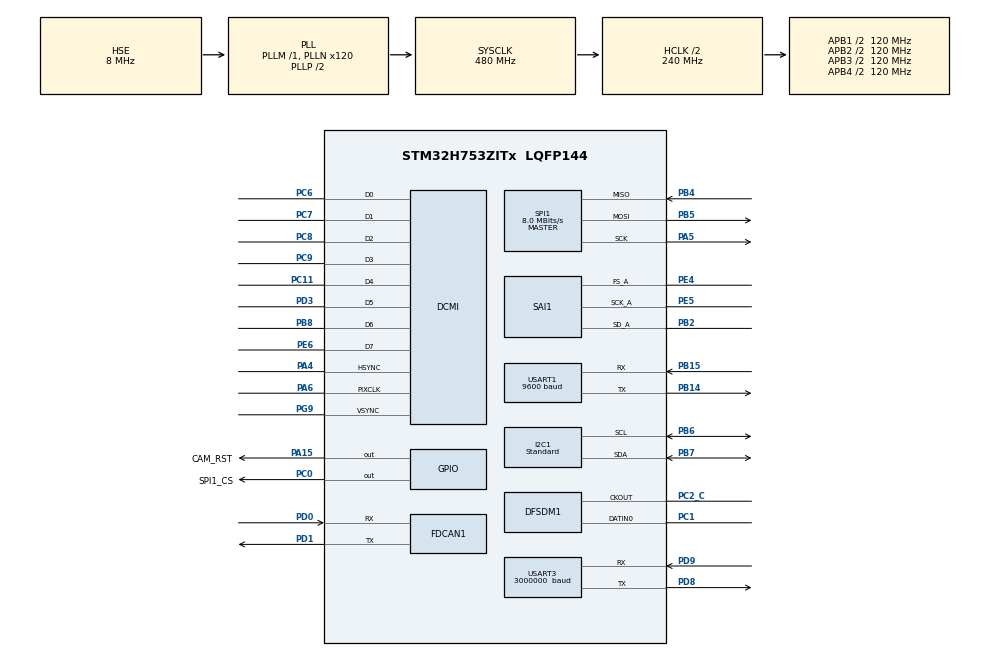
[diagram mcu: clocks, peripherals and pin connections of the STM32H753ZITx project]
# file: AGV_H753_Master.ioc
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CORTEX_M7.CPU_DCache=Enabled
CORTEX_M7.CPU_ICache=Enabled
CORTEX_M7.default_mode_Activation=1
DCMI.HSPolarity=DCMI_HSPOLARITY_HIGH
DCMI.VSPolarity=DCMI_VSPOLARITY_HIGH
DFSDM1.Divider=35
DFSDM1.DmaMode_reg_FIL0=ENABLE
DFSDM1.FastMode_reg_FIL0=ENABLE
DFSDM1.Filter_injChannel0_FIL0=__NULL
DFSDM1.Filter_regChannel_FIL0=DFSDM_CHANNEL_0
DFSDM1.Fosr_FIL0=64
DFSDM1.RightBitShift_CH0=0x8
DFSDM1.Selection=DFSDM_CHANNEL_OUTPUT_CLOCK_AUDIO
DFSDM1.SincOrder_FIL0=DFSDM_FILTER_SINC3_ORDER
Dma.DCMI.0.Direction=DMA_PERIPH_TO_MEMORY
Dma.DCMI.0.EventEnable=DISABLE
Dma.DCMI.0.FIFOMode=DMA_FIFOMODE_DISABLE
Dma.DCMI.0.Instance=DMA1_Stream1
Dma.DCMI.0.MemDataAlignment=DMA_MDATAALIGN_WORD
Dma.DCMI.0.MemInc=DMA_MINC_ENABLE
Dma.DCMI.0.Mode=DMA_CIRCULAR
Dma.DCMI.0.PeriphDataAlignment=DMA_PDATAALIGN_WORD
Dma.DCMI.0.PeriphInc=DMA_PINC_DISABLE
Dma.DCMI.0.Polarity=HAL_DMAMUX_REQ_GEN_RISING
Dma.DCMI.0.Priority=DMA_PRIORITY_LOW
Dma.DCMI.0.RequestNumber=1
Dma.DCMI.0.SignalID=NONE
Dma.DCMI.0.SyncEnable=DISABLE
Dma.DCMI.0.SyncPolarity=HAL_DMAMUX_SYNC_NO_EVENT
Dma.DCMI.0.SyncRequestNumber=1
Dma.DCMI.0.SyncSignalID=NONE
Dma.DFSDM1_FLT0.1.Direction=DMA_PERIPH_TO_MEMORY
Dma.DFSDM1_FLT0.1.EventEnable=DISABLE
Dma.DFSDM1_FLT0.1.FIFOMode=DMA_FIFOMODE_DISABLE
Dma.DFSDM1_FLT0.1.Instance=DMA1_Stream2
Dma.DFSDM1_FLT0.1.MemDataAlignment=DMA_MDATAALIGN_WORD
Dma.DFSDM1_FLT0.1.MemInc=DMA_MINC_ENABLE
Dma.DFSDM1_FLT0.1.Mode=DMA_CIRCULAR
Dma.DFSDM1_FLT0.1.PeriphDataAlignment=DMA_PDATAALIGN_WORD
Dma.DFSDM1_FLT0.1.PeriphInc=DMA_PINC_DISABLE
Dma.DFSDM1_FLT0.1.Polarity=HAL_DMAMUX_REQ_GEN_RISING
Dma.DFSDM1_FLT0.1.Priority=DMA_PRIORITY_LOW
Dma.DFSDM1_FLT0.1.RequestNumber=1
Dma.DFSDM1_FLT0.1.SignalID=NONE
Dma.DFSDM1_FLT0.1.SyncEnable=DISABLE
Dma.DFSDM1_FLT0.1.SyncPolarity=HAL_DMAMUX_SYNC_NO_EVENT
Dma.DFSDM1_FLT0.1.SyncRequestNumber=1
Dma.DFSDM1_FLT0.1.SyncSignalID=NONE
Dma.Request0=DCMI
Dma.Request1=DFSDM1_FLT0
Dma.Request2=SAI1_A
Dma.SAI1_A.2.Direction=DMA_MEMORY_TO_PERIPH
Dma.SAI1_A.2.EventEnable=DISABLE
Dma.SAI1_A.2.FIFOMode=DMA_FIFOMODE_DISABLE
Dma.SAI1_A.2.Instance=DMA1_Stream0
Dma.SAI1_A.2.MemDataAlignment=DMA_MDATAALIGN_HALFWORD
Dma.SAI1_A.2.MemInc=DMA_MINC_ENABLE
Dma.SAI1_A.2.Mode=DMA_CIRCULAR
Dma.SAI1_A.2.PeriphDataAlignment=DMA_PDATAALIGN_HALFWORD
Dma.SAI1_A.2.PeriphInc=DMA_PINC_DISABLE
Dma.SAI1_A.2.Polarity=HAL_DMAMUX_REQ_GEN_RISING
Dma.SAI1_A.2.Priority=DMA_PRIORITY_LOW
Dma.SAI1_A.2.RequestNumber=1
Dma.SAI1_A.2.SignalID=NONE
Dma.SAI1_A.2.SyncEnable=DISABLE
Dma.SAI1_A.2.SyncPolarity=HAL_DMAMUX_SYNC_NO_EVENT
Dma.SAI1_A.2.SyncRequestNumber=1
Dma.SAI1_A.2.SyncSignalID=NONE
FDCAN1.AutoRetransmission=ENABLE
FDCAN1.CalculateBaudRateNominal=1000000
FDCAN1.CalculateTimeBitNominal=1000
FDCAN1.CalculateTimeQuantumNominal=100.0
FDCAN1.Mode=FDCAN_MODE_NORMAL
FDCAN1.NominalPrescaler=12
FDCAN1.NominalSyncJumpWidth=1
FDCAN1.NominalTimeSeg1=7
FDCAN1.NominalTimeSeg2=2
FDCAN1.RxFifo0ElmtsNbr=8
FDCAN1.RxFifo1ElmtsNbr=0
FDCAN1.StdFiltersNbr=1
FDCAN1.TxFifoQueueElmtsNbr=8
I2C1.I2C_Speed_Mode=I2C_Standard
I2C1.Timing=0x307075B1
Mcu.Family=STM32H7
Mcu.Name=STM32H753ZITx
Mcu.Package=LQFP144
NVIC.DCMI_IRQn=true\:2\:0\:true\:false\:true\:true\:true\:true
NVIC.DFSDM1_FLT0_IRQn=true\:4\:0\:true\:false\:true\:true\:true\:true
NVIC.DMA1_Stream0_IRQn=true\:5\:0\:true\:false\:true\:false\:true\:true
NVIC.DMA1_Stream1_IRQn=true\:6\:0\:true\:false\:true\:false\:true\:true
NVIC.DMA1_Stream2_IRQn=true\:6\:0\:true\:false\:true\:false\:true\:true
NVIC.FDCAN1_IT0_IRQn=true\:3\:0\:true\:false\:true\:true\:true\:true
NVIC.FDCAN1_IT1_IRQn=true\:3\:0\:true\:false\:true\:true\:true\:true
NVIC.PriorityGroup=NVIC_PRIORITYGROUP_4
NVIC.SAI1_IRQn=true\:4\:0\:true\:false\:true\:true\:true\:true
NVIC.USART1_IRQn=true\:8\:0\:true\:false\:true\:true\:true\:true
NVIC.USART3_IRQn=true\:5\:0\:true\:false\:true\:true\:true\:true
PA13\ (JTMS/SWDIO).Mode=Serial_Wire
PA13\ (JTMS/SWDIO).Signal=DEBUG_JTMS-SWDIO
PA14\ (JTCK/SWCLK).Mode=Serial_Wire
PA14\ (JTCK/SWCLK).Signal=DEBUG_JTCK-SWCLK
PA15\ (JTDI).GPIO_Label=CAM_RST
PA15\ (JTDI).Signal=GPIO_Output
PA4.Mode=Slave_8_bits_External_Synchro
PA4.Signal=DCMI_HSYNC
PA5.Mode=Full_Duplex_Master
PA5.Signal=SPI1_SCK
PA6.Mode=Slave_8_bits_External_Synchro
PA6.Signal=DCMI_PIXCLK
PB14.Mode=Asynchronous
PB14.Signal=USART1_TX
PB15.Mode=Asynchronous
PB15.Signal=USART1_RX
PB2.GPIO_Speed=GPIO_SPEED_FREQ_VERY_HIGH
PB2.Mode=SAI_A_Master
PB2.Signal=SAI1_SD_A
PB4\ (NJTRST).Mode=Full_Duplex_Master
PB4\ (NJTRST).Signal=SPI1_MISO
PB5.Mode=Full_Duplex_Master
PB5.Signal=SPI1_MOSI
PB6.GPIO_Pu=GPIO_PULLUP
PB6.Mode=I2C
PB6.Signal=I2C1_SCL
PB7.GPIO_Pu=GPIO_PULLUP
PB7.Mode=I2C
PB7.Signal=I2C1_SDA
PB8.Mode=Slave_8_bits_External_Synchro
PB8.Signal=DCMI_D6
PC0.GPIO_Label=SPI1_CS
PC0.Signal=GPIO_Output
PC1.Signal=S_DATAIN0DFSDM1
PC11.Mode=Slave_8_bits_External_Synchro
PC11.Signal=DCMI_D4
PC14-OSC32_IN\ (OSC32_IN).Mode=LSE-External-Clock-Source
PC14-OSC32_IN\ (OSC32_IN).Signal=RCC_OSC32_IN
PC2_C.Signal=S_CKOUTDFSDM1
PC6.Mode=Slave_8_bits_External_Synchro
PC6.Signal=DCMI_D0
PC7.Mode=Slave_8_bits_External_Synchro
PC7.Signal=DCMI_D1
PC8.Mode=Slave_8_bits_External_Synchro
PC8.Signal=DCMI_D2
PC9.Mode=Slave_8_bits_External_Synchro
PC9.Signal=DCMI_D3
PD0.Mode=FDCAN_Activate
PD0.Signal=FDCAN1_RX
PD1.Mode=FDCAN_Activate
PD1.Signal=FDCAN1_TX
PD3.Mode=Slave_8_bits_External_Synchro
PD3.Signal=DCMI_D5
PD8.Mode=Asynchronous
PD8.Signal=USART3_TX
PD9.Mode=Asynchronous
PD9.Signal=USART3_RX
PE4.GPIO_Speed=GPIO_SPEED_FREQ_VERY_HIGH
PE4.Mode=SAI_A_Master
PE4.Signal=SAI1_FS_A
PE5.GPIO_Speed=GPIO_SPEED_FREQ_VERY_HIGH
PE5.Mode=SAI_A_Master
PE5.Signal=SAI1_SCK_A
PE6.Mode=Slave_8_bits_External_Synchro
PE6.Signal=DCMI_D7
PG9.Mode=Slave_8_bits_External_Synchro
PG9.Signal=DCMI_VSYNC
PH0-OSC_IN\ (PH0).Mode=HSE-External-Oscillator
PH0-OSC_IN\ (PH0).Signal=RCC_OSC_IN
PH1-OSC_OUT\ (PH1).Mode=HSE-External-Oscillator
PH1-OSC_OUT\ (PH1).Signal=RCC_OSC_OUT
ProjectManager.HeapSize=0x2000
ProjectManager.StackSize=0x800
ProjectManager.TargetToolchain=STM32CubeIDE
RCC.ADCFreq_Value=86000000
RCC.APB1Freq_Value=120000000
RCC.APB2Freq_Value=120000000
RCC.APB3Freq_Value=120000000
RCC.APB4Freq_Value=120000000
RCC.CodegenConfigPeriph=true
RCC.CortexFreq_Value=480000000
RCC.D1PPRE=RCC_APB3_DIV2
RCC.D2PPRE1=RCC_APB1_DIV2
RCC.D2PPRE2=RCC_APB2_DIV2
RCC.D3PPRE=RCC_APB4_DIV2
RCC.DATA_CACHE_ENABLE=1
RCC.DIVM1=1
RCC.DIVM2=8
RCC.DIVN1=120
RCC.DIVN2=172
RCC.DIVQ1=8
RCC.DIVQ2=4
RCC.HCLKFreq_Value=240000000
RCC.HPRE=RCC_HCLK_DIV2
RCC.HSE_VALUE=8000000
RCC.INSTRUCTION_CACHE_ENABLE=1
RCC.LSE_Drive_CapabilityArg=+LSE_Drive_Capability
RCC.PLL1_VCI_Range=RCC_PLL1VCIRANGE_3
RCC.PLL2FRACN=0
RCC.PLL3FRACN=0
RCC.PLLFRACN=0
RCC.PLLSourceVirtual=RCC_PLLSOURCE_HSE
RCC.PREFETCH_ENABLE=0
RCC.SAI1CLockSelection=RCC_SAI1CLKSOURCE_PLL2
RCC.SPI123CLockSelection=RCC_SPI123CLKSOURCE_CLKP
RCC.SYSCLKFreq_VALUE=480000000
RCC.SYSCLKSource=RCC_SYSCLKSOURCE_PLLCLK
RCC.USBFreq_Value=120000000
SAI1.AudioFrequency-SAI_A_Master=SAI_AUDIO_FREQUENCY_48K
SAI1.ErrorAudioFreq-SAI_A_Master=599.86 %
SAI1.FIFOThreshold-SAI_A_Master=SAI_FIFOTHRESHOLD_FULL
SAI1.InitProtocol-SAI_A_Master=Enable
SAI1.Instance-SAI_A_Master=SAI$Index_Block_A
SAI1.MClockEnable-SAI_A_Master=SAI_MASTERCLOCK_DISABLE
SAI1.NoDivider-SAI_A_Master=SAI_MCK_OVERSAMPLING_ENABLE
SAI1.OutputDrive-SAI_A_Master=SAI_OUTPUTDRIVE_ENABLE
SAI1.RealAudioFreq-SAI_A_Master=335.937 KHz
SAI1.VirtualMode-SAI_A_Master=VM_MASTER
SAI1.VirtualProtocol-SAI_A_BASIC=VM_BASIC_PROTOCOL
SH.S_CKOUTDFSDM1.0=DFSDM1_CKOUT,CKOUT
SH.S_CKOUTDFSDM1.1=DFSDM1_CKOUT,PDM_SPI_input_from_ch0_and_internal_clock
SH.S_DATAIN0DFSDM1.0=DFSDM1_DATIN0,PDM_SPI_input_from_ch0_and_internal_clock
SPI1.BaudRatePrescaler=SPI_BAUDRATEPRESCALER_8
SPI1.CalculateBaudRate=8.0 MBits/s
SPI1.DataSize=SPI_DATASIZE_8BIT
SPI1.Direction=SPI_DIRECTION_2LINES
SPI1.Mode=SPI_MODE_MASTER
SPI1.VirtualType=VM_MASTER
STMicroelectronics.X-CUBE-AI.10.2.0.ActivationBufferSizeList=19532
STMicroelectronics.X-CUBE-AI.10.2.0.ActivationBuffers=pool0
STMicroelectronics.X-CUBE-AI.10.2.0.ActivationNames=pool0
STMicroelectronics.X-CUBE-AI.10.2.0.ActivationSizes=AI_KWS_DATA_ACTIVATION_1_SIZE
STMicroelectronics.X-CUBE-AI.10.2.0.ApplicationCcDeviceJjApplication=ApplicationTemplate
STMicroelectronics.X-CUBE-AI.10.2.0.HeapSize=0x2000
STMicroelectronics.X-CUBE-AI.10.2.0.InternalRamActivationBufferMaxSize=AI_KWS_DATA_ACTIVATIONS_SIZE
STMicroelectronics.X-CUBE-AI.10.2.0.LatestDirectoryUsed-21a3f97fbf82e8b1127e67b79ba0f9c5c1374c2d9a2c23968b299df149952bf8=D\:\\STM32CubeIDE_2.1.1\\workplace\\training
STMicroelectronics.X-CUBE-AI.10.2.0.MaximumNumberOfInputLayer=1
STMicroelectronics.X-CUBE-AI.10.2.0.MaximumNumberOfOutputLayer=1
STMicroelectronics.X-CUBE-AI.10.2.0.MaximumSizeOfInputLayer=1
STMicroelectronics.X-CUBE-AI.10.2.0.MaximumSizeOfOutputLayer=1
STMicroelectronics.X-CUBE-AI.10.2.0.ModelActualCompression-21a3f97fbf82e8b1127e67b79ba0f9c5c1374c2d9a2c23968b299df149952bf8=0.0
STMicroelectronics.X-CUBE-AI.10.2.0.ModelCompression-21a3f97fbf82e8b1127e67b79ba0f9c5c1374c2d9a2c23968b299df149952bf8=None
STMicroelectronics.X-CUBE-AI.10.2.0.ModelFlashOccupation-21a3f97fbf82e8b1127e67b79ba0f9c5c1374c2d9a2c23968b299df149952bf8=138516
STMicroelectronics.X-CUBE-AI.10.2.0.ModelHashList=21a3f97fbf82e8b1127e67b79ba0f9c5c1374c2d9a2c23968b299df149952bf8
STMicroelectronics.X-CUBE-AI.10.2.0.ModelKind-21a3f97fbf82e8b1127e67b79ba0f9c5c1374c2d9a2c23968b299df149952bf8=ONNX
STMicroelectronics.X-CUBE-AI.10.2.0.ModelMacc-21a3f97fbf82e8b1127e67b79ba0f9c5c1374c2d9a2c23968b299df149952bf8=673850
STMicroelectronics.X-CUBE-AI.10.2.0.ModelName-21a3f97fbf82e8b1127e67b79ba0f9c5c1374c2d9a2c23968b299df149952bf8=kws
STMicroelectronics.X-CUBE-AI.10.2.0.ModelNameList=kws
STMicroelectronics.X-CUBE-AI.10.2.0.ModelRamOccupation-21a3f97fbf82e8b1127e67b79ba0f9c5c1374c2d9a2c23968b299df149952bf8=19532
STMicroelectronics.X-CUBE-AI.10.2.0.ModelStructureFile-21a3f97fbf82e8b1127e67b79ba0f9c5c1374c2d9a2c23968b299df149952bf8=D\:\\STM32CubeIDE_2.1.1\\workplace\\training\\kws_model_tc_resnet8.onnx
STMicroelectronics.X-CUBE-AI.10.2.0.ModelType-21a3f97fbf82e8b1127e67b79ba0f9c5c1374c2d9a2c23968b299df149952bf8=STM32Cube.AI MCU runtime
STMicroelectronics.X-CUBE-AI.10.2.0.ReadyForCodeGeneration=true
STMicroelectronics.X-CUBE-AI.10.2.0.StackSize=0x800
STMicroelectronics.X-CUBE-AI.10.2.0.WorkingBufferStartAddrList=0xFFFFFFFF
STMicroelectronics.X-CUBE-AI.10.2.0.XAaCUBEAaAICcArtificialOoIntelligenceJjCore=true
STMicroelectronics.X-CUBE-AI.10.2.0.copyWeightToRam=false
STMicroelectronics.X-CUBE-AI.10.2.0.copyWeightToRam-21a3f97fbf82e8b1127e67b79ba0f9c5c1374c2d9a2c23968b299df149952bf8=false
STMicroelectronics.X-CUBE-AI.10.2.0.customLayerConfigEnabled=false
STMicroelectronics.X-CUBE-AI.10.2.0.customLayerConfigEnabled-21a3f97fbf82e8b1127e67b79ba0f9c5c1374c2d9a2c23968b299df149952bf8=false
STMicroelectronics.X-CUBE-AI.10.2.0.noOnnxIoTranspose=false
STMicroelectronics.X-CUBE-AI.10.2.0.noOnnxIoTranspose-21a3f97fbf82e8b1127e67b79ba0f9c5c1374c2d9a2c23968b299df149952bf8=false
STMicroelectronics.X-CUBE-AI.10.2.0.useInputAllocation=true
STMicroelectronics.X-CUBE-AI.10.2.0.useInputAllocation-21a3f97fbf82e8b1127e67b79ba0f9c5c1374c2d9a2c23968b299df149952bf8=true
STMicroelectronics.X-CUBE-AI.10.2.0.useOutputAllocation=true
STMicroelectronics.X-CUBE-AI.10.2.0.useOutputAllocation-21a3f97fbf82e8b1127e67b79ba0f9c5c1374c2d9a2c23968b299df149952bf8=true
USART1.BaudRate=9600
USART1.VirtualMode-Asynchronous=VM_ASYNC
USART3.BaudRate=3000000 
USART3.VirtualMode-Asynchronous=VM_ASYNC
VP_CRC_VS_CRC.Mode=CRC_Activate
VP_MEMORYMAP_VS_MEMORYMAP.Mode=CurAppReg
VP_SAI1_VP_$IpInstance_SAIA_SAI_BASIC.Mode=SAI_A_BASIC
VP_STMicroelectronics.X-CUBE-AI_VS_ArtificialOoIntelligenceJjXAaCUBEAaAI_10.2.0.Mode=ArtificialOoIntelligenceJjXAaCUBEAaAI
VP_STMicroelectronics.X-CUBE-AI_VS_DeviceJjApplication_10.2.0.Mode=DeviceJjApplication
board=custom

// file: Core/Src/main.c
/* USER CODE BEGIN Header */
/**
  ******************************************************************************
  * @file           : main.c
  * @brief          : Main program body
  ******************************************************************************
  * @attention
  *
  * Copyright (c) 2026 STMicroelectronics.
  * All rights reserved.
  *
  * This software is licensed under terms that can be found in the LICENSE file
  * in the root directory of this software component.
  * If no LICENSE file comes with this software, it is provided AS-IS.
  *
  ******************************************************************************
  */
/* USER CODE END Header */
#include "main.h"
#include "crc.h"
#include "dcmi.h"
#include "dfsdm.h"
#include "dma.h"
#include "fdcan.h"
#include "i2c.h"
#include "sai.h"
#include "spi.h"
#include "usart.h"
#include "gpio.h"
#include "app_x-cube-ai.h"

/* USER CODE BEGIN Includes */
#include "app_h753.h"
#include <stdio.h>
/* USER CODE END Includes */

void SystemClock_Config(void);
void PeriphCommonClock_Config(void);
static void MPU_Config(void);

int main(void)
{

  /* MPU Configuration--------------------------------------------------------*/
  MPU_Config();

  /* Enable the CPU Cache */

  /* Enable I-Cache---------------------------------------------------------*/
  SCB_EnableICache();

  /* Enable D-Cache---------------------------------------------------------*/
  SCB_EnableDCache();

  /* MCU Configuration--------------------------------------------------------*/

  /* Reset of all peripherals, Initializes the Flash interface and the Systick. */
  HAL_Init();

  /* Configure the system clock */
  SystemClock_Config();

  /* Configure the peripherals common clocks */
  PeriphCommonClock_Config();

  /* USER CODE BEGIN SysInit */
  /* PLL2 must be enabled BEFORE DFSDM init (which needs audio clock).
     SAI1 MspInit also configures PLL2 but runs later; the static guard
     prevents double-config, making the MspInit call a safe no-op. */
  {
    static uint8_t _pll2_done = 0;
    if (!_pll2_done) {
      RCC_PeriphCLKInitTypeDef p = {0};
      p.PeriphClockSelection = RCC_PERIPHCLK_SAI1;
      p.PLL2.PLL2M = 8;
      p.PLL2.PLL2N = 172;
      p.PLL2.PLL2P = 2;
      p.PLL2.PLL2Q = 4;
      p.PLL2.PLL2R = 2;
      p.PLL2.PLL2RGE = RCC_PLL2VCIRANGE_0;
      p.PLL2.PLL2VCOSEL = RCC_PLL2VCOMEDIUM;
      p.PLL2.PLL2FRACN = 0;
      p.Sai1ClockSelection = RCC_SAI1CLKSOURCE_PLL2;
      HAL_RCCEx_PeriphCLKConfig(&p);
      _pll2_done = 1;
    }
  }
  /* USER CODE END SysInit */

  /* Initialize all configured peripherals */
  MX_GPIO_Init();
  MX_DMA_Init();
  MX_FDCAN1_Init();
  MX_I2C1_Init();
  MX_SPI1_Init();
  MX_USART3_UART_Init();
  MX_DCMI_Init();
  MX_DFSDM1_Init();
  MX_USART1_UART_Init();
  MX_SAI1_Init();
  MX_CRC_Init();
  MX_X_CUBE_AI_Init();
  /* USER CODE BEGIN 2 */
  App_Init();
  /* USER CODE END 2 */

  /* Infinite loop */
  /* USER CODE BEGIN WHILE */
  while (1)
  {
      App_Run();
    /* USER CODE END WHILE */

  MX_X_CUBE_AI_Process();
  }
}

void SystemClock_Config(void)
{
  RCC_OscInitTypeDef RCC_OscInitStruct = {0};
  RCC_ClkInitTypeDef RCC_ClkInitStruct = {0};

  /** Supply configuration update enable
  */
  HAL_PWREx_ConfigSupply(PWR_LDO_SUPPLY);

  /** Configure the main internal regulator output voltage
  */
  __HAL_PWR_VOLTAGESCALING_CONFIG(PWR_REGULATOR_VOLTAGE_SCALE0);

  while(!__HAL_PWR_GET_FLAG(PWR_FLAG_VOSRDY)) {}

  /** Initializes the RCC Oscillators according to the specified parameters
  * in the RCC_OscInitTypeDef structure.
  */
  RCC_OscInitStruct.OscillatorType = RCC_OSCILLATORTYPE_HSI|RCC_OSCILLATORTYPE_HSE;
  RCC_OscInitStruct.HSEState = RCC_HSE_ON;
  RCC_OscInitStruct.HSIState = RCC_HSI_DIV1;
  RCC_OscInitStruct.HSICalibrationValue = RCC_HSICALIBRATION_DEFAULT;
  RCC_OscInitStruct.PLL.PLLState = RCC_PLL_ON;
  RCC_OscInitStruct.PLL.PLLSource = RCC_PLLSOURCE_HSE;
  RCC_OscInitStruct.PLL.PLLM = 1;
  RCC_OscInitStruct.PLL.PLLN = 120;
  RCC_OscInitStruct.PLL.PLLP = 2;
  RCC_OscInitStruct.PLL.PLLQ = 8;
  RCC_OscInitStruct.PLL.PLLR = 2;
  RCC_OscInitStruct.PLL.PLLRGE = RCC_PLL1VCIRANGE_3;
  RCC_OscInitStruct.PLL.PLLVCOSEL = RCC_PLL1VCOWIDE;
  RCC_OscInitStruct.PLL.PLLFRACN = 0;
  if (HAL_RCC_OscConfig(&RCC_OscInitStruct) != HAL_OK)
  {
    Error_Handler();
  }

  /** Initializes the CPU, AHB and APB buses clocks
  */
  RCC_ClkInitStruct.ClockType = RCC_CLOCKTYPE_HCLK|RCC_CLOCKTYPE_SYSCLK
                              |RCC_CLOCKTYPE_PCLK1|RCC_CLOCKTYPE_PCLK2
                              |RCC_CLOCKTYPE_D3PCLK1|RCC_CLOCKTYPE_D1PCLK1;
  RCC_ClkInitStruct.SYSCLKSource = RCC_SYSCLKSOURCE_PLLCLK;
  RCC_ClkInitStruct.SYSCLKDivider = RCC_SYSCLK_DIV1;
  RCC_ClkInitStruct.AHBCLKDivider = RCC_HCLK_DIV2;
  RCC_ClkInitStruct.APB3CLKDivider = RCC_APB3_DIV2;
  RCC_ClkInitStruct.APB1CLKDivider = RCC_APB1_DIV2;
  RCC_ClkInitStruct.APB2CLKDivider = RCC_APB2_DIV2;
  RCC_ClkInitStruct.APB4CLKDivider = RCC_APB4_DIV2;

  if (HAL_RCC_ClockConfig(&RCC_ClkInitStruct, FLASH_LATENCY_4) != HAL_OK)
  {
    Error_Handler();
  }
}

void PeriphCommonClock_Config(void)
{
  RCC_PeriphCLKInitTypeDef PeriphClkInitStruct = {0};

  /** Initializes the peripherals clock
  */
  PeriphClkInitStruct.PeriphClockSelection = RCC_PERIPHCLK_CKPER;
  PeriphClkInitStruct.CkperClockSelection = RCC_CLKPSOURCE_HSI;
  if (HAL_RCCEx_PeriphCLKConfig(&PeriphClkInitStruct) != HAL_OK)
  {
    Error_Handler();
  }
}

 /* MPU Configuration */

void MPU_Config(void)
{
  MPU_Region_InitTypeDef MPU_InitStruct = {0};

  /* Disables the MPU */
  HAL_MPU_Disable();

  /** Initializes and configures the Region and the memory to be protected
  */
  MPU_InitStruct.Enable = MPU_REGION_ENABLE;
  MPU_InitStruct.Number = MPU_REGION_NUMBER0;
  MPU_InitStruct.BaseAddress = 0x0;
  MPU_InitStruct.Size = MPU_REGION_SIZE_4GB;
  MPU_InitStruct.SubRegionDisable = 0x87;
  MPU_InitStruct.TypeExtField = MPU_TEX_LEVEL0;
  MPU_InitStruct.AccessPermission = MPU_REGION_NO_ACCESS;
  MPU_InitStruct.DisableExec = MPU_INSTRUCTION_ACCESS_DISABLE;
  MPU_InitStruct.IsShareable = MPU_ACCESS_SHAREABLE;
  MPU_InitStruct.IsCacheable = MPU_ACCESS_NOT_CACHEABLE;
  MPU_InitStruct.IsBufferable = MPU_ACCESS_NOT_BUFFERABLE;

  HAL_MPU_ConfigRegion(&MPU_InitStruct);
  /* Enables the MPU */
  HAL_MPU_Enable(MPU_PRIVILEGED_DEFAULT);

}

void Error_Handler(void)
{
  __disable_irq();
  while (1)
  {
  }
}
